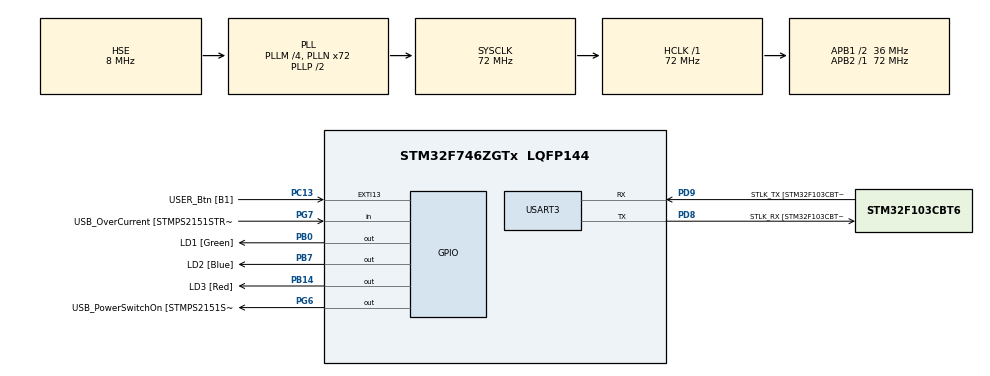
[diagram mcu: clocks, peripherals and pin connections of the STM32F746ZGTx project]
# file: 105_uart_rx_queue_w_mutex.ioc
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FREERTOS.Mutexes01=only_one_at_a_time,Dynamic,NULL
FREERTOS.Queues01=uart3_rx_queue,20,uint8_t,0,Dynamic,NULL,NULL
FREERTOS.Tasks01=defaultTask,-1,128,StartDefaultTask,Default,NULL,Dynamic,NULL,NULL;process_uart3,0,128,task_process_uart3,Default,NULL,Dynamic,NULL,NULL;competing_proce,-3,128,task_competing_process,Default,NULL,Dynamic,NULL,NULL
FREERTOS.configUSE_NEWLIB_REENTRANT=1
Mcu.Family=STM32F7
Mcu.Name=STM32F746ZGTx
Mcu.Package=LQFP144
NVIC.PriorityGroup=NVIC_PRIORITYGROUP_4
NVIC.TIM2_IRQn=true\:0\:0\:false\:false\:true\:false\:false\:true
NVIC.TimeBase=TIM2_IRQn
NVIC.TimeBaseIP=TIM2
NVIC.USART3_IRQn=true\:5\:0\:false\:false\:true\:true\:true\:true
PA1.GPIO_Label=RMII_REF_CLK [LAN8742A-CZ-TR_REFCLK0]
PA1.Signal=ETH_REF_CLK
PA10.GPIO_Label=USB_ID
PA10.Signal=USB_OTG_FS_ID
PA11.GPIO_Label=USB_DM
PA11.Signal=USB_OTG_FS_DM
PA12.GPIO_Label=USB_DP
PA12.Signal=USB_OTG_FS_DP
PA13.GPIO_Label=TMS
PA13.Mode=Serial_Wire
PA13.Signal=SYS_JTMS-SWDIO
PA14.GPIO_Label=TCK
PA14.Mode=Serial_Wire
PA14.Signal=SYS_JTCK-SWCLK
PA2.GPIO_Label=RMII_MDIO [LAN8742A-CZ-TR_MDIO]
PA2.Signal=ETH_MDIO
PA7.GPIO_Label=RMII_CRS_DV [LAN8742A-CZ-TR_CRS_DV]
PA7.Signal=ETH_CRS_DV
PA8.GPIO_Label=USB_SOF [TP1]
PA8.Signal=USB_OTG_FS_SOF
PA9.GPIO_Label=USB_VBUS
PA9.Signal=USB_OTG_FS_VBUS
PB0.GPIO_Label=LD1 [Green]
PB0.Signal=GPIO_Output
PB13.GPIO_Label=RMII_TXD1 [LAN8742A-CZ-TR_TXD1]
PB13.Signal=ETH_TXD1
PB14.GPIO_Label=LD3 [Red]
PB14.Signal=GPIO_Output
PB3.GPIO_Label=SW0
PB3.Signal=SYS_JTDO-SWO
PB7.GPIO_Label=LD2 [Blue]
PB7.Signal=GPIO_Output
PC1.GPIO_Label=RMII_MDC [LAN8742A-CZ-TR_MDC]
PC1.Signal=ETH_MDC
PC13.GPIO_Label=USER_Btn [B1]
PC13.Signal=GPXTI13
PC14/OSC32_IN.Mode=LSE-External-Oscillator
PC14/OSC32_IN.Signal=RCC_OSC32_IN
PC15/OSC32_OUT.Mode=LSE-External-Oscillator
PC15/OSC32_OUT.Signal=RCC_OSC32_OUT
PC4.GPIO_Label=RMII_RXD0 [LAN8742A-CZ-TR_RXD0]
PC4.Signal=ETH_RXD0
PC5.GPIO_Label=RMII_RXD1 [LAN8742A-CZ-TR_RXD1]
PC5.Signal=ETH_RXD1
PD8.GPIO_Label=STLK_RX [STM32F103CBT6_PA3]
PD8.Mode=Asynchronous
PD8.Signal=USART3_TX
PD9.GPIO_Label=STLK_TX [STM32F103CBT6_PA2]
PD9.Mode=Asynchronous
PD9.Signal=USART3_RX
PG11.GPIO_Label=RMII_TX_EN [LAN8742A-CZ-TR_TXEN]
PG11.Signal=ETH_TX_EN
PG13.GPIO_Label=RMII_TXD0 [LAN8742A-CZ-TR_TXD0]
PG13.Signal=ETH_TXD0
PG6.GPIO_Label=USB_PowerSwitchOn [STMPS2151STR_EN]
PG6.Signal=GPIO_Output
PG7.GPIO_Label=USB_OverCurrent [STMPS2151STR_FAULT]
PG7.Signal=GPIO_Input
PH0/OSC_IN.GPIO_Label=MCO [STM32F103CBT6_PA8]
PH0/OSC_IN.Mode=HSE-External-Clock-Source
PH0/OSC_IN.Signal=RCC_OSC_IN
PH1/OSC_OUT.Mode=HSE-External-Clock-Source
PH1/OSC_OUT.Signal=RCC_OSC_OUT
ProjectManager.HeapSize=0x200
ProjectManager.StackSize=0x400
ProjectManager.TargetToolchain=STM32CubeIDE
RCC.48MHZClocksFreq_Value=24000000
RCC.AHBFreq_Value=72000000
RCC.APB1CLKDivider=RCC_HCLK_DIV2
RCC.APB1Freq_Value=36000000
RCC.APB1TimFreq_Value=72000000
RCC.APB2Freq_Value=72000000
RCC.APB2TimFreq_Value=72000000
RCC.CortexFreq_Value=72000000
RCC.HCLKFreq_Value=72000000
RCC.HSE_VALUE=8000000
RCC.HSI_VALUE=16000000
RCC.PLLM=4
RCC.PLLMUL=RCC_PLL_MUL9
RCC.PLLN=72
RCC.PLLQ=3
RCC.PLLSourceVirtual=RCC_PLLSOURCE_HSE
RCC.PRESCALERUSB=RCC_USBCLKSOURCE_PLL_DIV1_5
RCC.SYSCLKFreq_VALUE=72000000
RCC.SYSCLKSource=RCC_SYSCLKSOURCE_PLLCLK
RCC.SYSCLKSourceVirtual=RCC_SYSCLKSOURCE_PLLCLK
RCC.USBFreq_Value=48000000
RCC.VCOOutputFreq_Value=144000000
USART3.VirtualMode-Asynchronous=VM_ASYNC
VP_FREERTOS_VS_CMSIS_V1.Mode=CMSIS_V1
VP_SYS_VS_tim2.Mode=TIM2
board=NUCLEO-F746ZG

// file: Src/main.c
/* USER CODE BEGIN Header */
/**
  ******************************************************************************
  * @file           : main.c
  * @brief          : Main program body
  ******************************************************************************
  * @attention
  *
  * <h2><center>&copy; Copyright (c) 2020 STMicroelectronics.
  * All rights reserved.</center></h2>
  *
  * This software component is licensed by ST under Ultimate Liberty license
  * SLA0044, the "License"; You may not use this file except in compliance with
  * the License. You may obtain a copy of the License at:
  *                             www.st.com/SLA0044
  *
  ******************************************************************************
  */
/* USER CODE END Header */
#include "main.h"
#include "cmsis_os.h"

/* USER CODE BEGIN Includes */
#include<string.h>
/* USER CODE END Includes */

UART_HandleTypeDef huart3;

osThreadId defaultTaskHandle;
osThreadId process_uart3Handle;
osThreadId competing_proceHandle;
osMessageQId uart3_rx_queueHandle;
osMutexId only_one_at_a_timeHandle;

void SystemClock_Config(void);
static void MX_GPIO_Init(void);
static void MX_USART3_UART_Init(void);
void StartDefaultTask(void const * argument);
void task_process_uart3(void const * argument);
void task_competing_process(void const * argument);

/* USER CODE BEGIN 0 */
BaseType_t getCommand() {

    while( xSemaphoreTake(only_one_at_a_timeHandle, 1000 / portTICK_PERIOD_MS ) != pdTRUE )
        ; // wait up to forever for the mutex access

    char command[20];
    BaseType_t  pos = 0;
    uint8_t buffer;
    do {
        while( xQueueReceive(uart3_rx_queueHandle, &buffer, 1000 / portTICK_PERIOD_MS ) != pdTRUE )
            ; // wait up to forever to receive a character
        if ( buffer!='\r'&& buffer!='\n' ) {
          command[pos] = buffer;
          pos++;
        }
    } while( pos<19 && buffer!='\r' && buffer!='\n');
    command[pos]='\0';

    xSemaphoreGive(only_one_at_a_timeHandle);

    BaseType_t result = -1;
    if ( strcmp(command, "off")==0 )
        result = 0;
    else if ( strcmp(command, "on")==0 )
        result = 1;
    return(result);
}
/* USER CODE END 0 */

int main(void)
{

  /* MCU Configuration--------------------------------------------------------*/

  /* Reset of all peripherals, Initializes the Flash interface and the Systick. */
  HAL_Init();

  /* Configure the system clock */
  SystemClock_Config();

  /* Initialize all configured peripherals */
  MX_GPIO_Init();
  MX_USART3_UART_Init();
  /* USER CODE BEGIN 2 */
  __HAL_UART_ENABLE_IT(&huart3, UART_IT_RXNE); //1
  /* USER CODE END 2 */

  /* Create the mutex(es) */
  /* definition and creation of only_one_at_a_time */
  osMutexDef(only_one_at_a_time);
  only_one_at_a_timeHandle = osMutexCreate(osMutex(only_one_at_a_time));

  /* Create the queue(s) */
  /* definition and creation of uart3_rx_queue */
  osMessageQDef(uart3_rx_queue, 20, uint8_t);
  uart3_rx_queueHandle = osMessageCreate(osMessageQ(uart3_rx_queue), NULL);

  /* Create the thread(s) */
  /* definition and creation of defaultTask */
  osThreadDef(defaultTask, StartDefaultTask, osPriorityBelowNormal, 0, 128);
  defaultTaskHandle = osThreadCreate(osThread(defaultTask), NULL);

  /* definition and creation of process_uart3 */
  osThreadDef(process_uart3, task_process_uart3, osPriorityNormal, 0, 128);
  process_uart3Handle = osThreadCreate(osThread(process_uart3), NULL);

  /* definition and creation of competing_proce */
  osThreadDef(competing_proce, task_competing_process, osPriorityIdle, 0, 128);
  competing_proceHandle = osThreadCreate(osThread(competing_proce), NULL);

  /* Start scheduler */
  osKernelStart();

  /* We should never get here as control is now taken by the scheduler */
  /* Infinite loop */
  while (1)
  {

  }
}

void SystemClock_Config(void)
{
  RCC_OscInitTypeDef RCC_OscInitStruct = {0};
  RCC_ClkInitTypeDef RCC_ClkInitStruct = {0};

  /** Configure LSE Drive Capability
  */
  HAL_PWR_EnableBkUpAccess();
  /** Configure the main internal regulator output voltage
  */
  __HAL_RCC_PWR_CLK_ENABLE();
  __HAL_PWR_VOLTAGESCALING_CONFIG(PWR_REGULATOR_VOLTAGE_SCALE3);
  /** Initializes the RCC Oscillators according to the specified parameters
  * in the RCC_OscInitTypeDef structure.
  */
  RCC_OscInitStruct.OscillatorType = RCC_OSCILLATORTYPE_HSE;
  RCC_OscInitStruct.HSEState = RCC_HSE_BYPASS;
  RCC_OscInitStruct.PLL.PLLState = RCC_PLL_ON;
  RCC_OscInitStruct.PLL.PLLSource = RCC_PLLSOURCE_HSE;
  RCC_OscInitStruct.PLL.PLLM = 4;
  RCC_OscInitStruct.PLL.PLLN = 72;
  RCC_OscInitStruct.PLL.PLLP = RCC_PLLP_DIV2;
  RCC_OscInitStruct.PLL.PLLQ = 3;
  if (HAL_RCC_OscConfig(&RCC_OscInitStruct) != HAL_OK)
  {
    Error_Handler();
  }
  /** Initializes the CPU, AHB and APB buses clocks
  */
  RCC_ClkInitStruct.ClockType = RCC_CLOCKTYPE_HCLK|RCC_CLOCKTYPE_SYSCLK
                              |RCC_CLOCKTYPE_PCLK1|RCC_CLOCKTYPE_PCLK2;
  RCC_ClkInitStruct.SYSCLKSource = RCC_SYSCLKSOURCE_PLLCLK;
  RCC_ClkInitStruct.AHBCLKDivider = RCC_SYSCLK_DIV1;
  RCC_ClkInitStruct.APB1CLKDivider = RCC_HCLK_DIV2;
  RCC_ClkInitStruct.APB2CLKDivider = RCC_HCLK_DIV1;

  if (HAL_RCC_ClockConfig(&RCC_ClkInitStruct, FLASH_LATENCY_2) != HAL_OK)
  {
    Error_Handler();
  }
}

static void MX_USART3_UART_Init(void)
{

  huart3.Instance = USART3;
  huart3.Init.BaudRate = 115200;
  huart3.Init.WordLength = UART_WORDLENGTH_8B;
  huart3.Init.StopBits = UART_STOPBITS_1;
  huart3.Init.Parity = UART_PARITY_NONE;
  huart3.Init.Mode = UART_MODE_TX_RX;
  huart3.Init.HwFlowCtl = UART_HWCONTROL_NONE;
  huart3.Init.OverSampling = UART_OVERSAMPLING_16;
  huart3.Init.OneBitSampling = UART_ONE_BIT_SAMPLE_DISABLE;
  huart3.AdvancedInit.AdvFeatureInit = UART_ADVFEATURE_NO_INIT;
  if (HAL_UART_Init(&huart3) != HAL_OK)
  {
    Error_Handler();
  }

}

static void MX_GPIO_Init(void)
{
  GPIO_InitTypeDef GPIO_InitStruct = {0};

  /* GPIO Ports Clock Enable */
  __HAL_RCC_GPIOC_CLK_ENABLE();
  __HAL_RCC_GPIOH_CLK_ENABLE();
  __HAL_RCC_GPIOA_CLK_ENABLE();
  __HAL_RCC_GPIOB_CLK_ENABLE();
  __HAL_RCC_GPIOD_CLK_ENABLE();
  __HAL_RCC_GPIOG_CLK_ENABLE();

  /*Configure GPIO pin Output Level */
  HAL_GPIO_WritePin(GPIOB, LD1_Pin|LD3_Pin|LD2_Pin, GPIO_PIN_RESET);

  /*Configure GPIO pin Output Level */
  HAL_GPIO_WritePin(USB_PowerSwitchOn_GPIO_Port, USB_PowerSwitchOn_Pin, GPIO_PIN_RESET);

  /*Configure GPIO pin : USER_Btn_Pin */
  GPIO_InitStruct.Pin = USER_Btn_Pin;
  GPIO_InitStruct.Mode = GPIO_MODE_IT_RISING;
  GPIO_InitStruct.Pull = GPIO_NOPULL;
  HAL_GPIO_Init(USER_Btn_GPIO_Port, &GPIO_InitStruct);

  /*Configure GPIO pins : RMII_MDC_Pin RMII_RXD0_Pin RMII_RXD1_Pin */
  GPIO_InitStruct.Pin = RMII_MDC_Pin|RMII_RXD0_Pin|RMII_RXD1_Pin;
  GPIO_InitStruct.Mode = GPIO_MODE_AF_PP;
  GPIO_InitStruct.Pull = GPIO_NOPULL;
  GPIO_InitStruct.Speed = GPIO_SPEED_FREQ_VERY_HIGH;
  GPIO_InitStruct.Alternate = GPIO_AF11_ETH;
  HAL_GPIO_Init(GPIOC, &GPIO_InitStruct);

  /*Configure GPIO pins : RMII_REF_CLK_Pin RMII_MDIO_Pin RMII_CRS_DV_Pin */
  GPIO_InitStruct.Pin = RMII_REF_CLK_Pin|RMII_MDIO_Pin|RMII_CRS_DV_Pin;
  GPIO_InitStruct.Mode = GPIO_MODE_AF_PP;
  GPIO_InitStruct.Pull = GPIO_NOPULL;
  GPIO_InitStruct.Speed = GPIO_SPEED_FREQ_VERY_HIGH;
  GPIO_InitStruct.Alternate = GPIO_AF11_ETH;
  HAL_GPIO_Init(GPIOA, &GPIO_InitStruct);

  /*Configure GPIO pins : LD1_Pin LD3_Pin LD2_Pin */
  GPIO_InitStruct.Pin = LD1_Pin|LD3_Pin|LD2_Pin;
  GPIO_InitStruct.Mode = GPIO_MODE_OUTPUT_PP;
  GPIO_InitStruct.Pull = GPIO_NOPULL;
  GPIO_InitStruct.Speed = GPIO_SPEED_FREQ_LOW;
  HAL_GPIO_Init(GPIOB, &GPIO_InitStruct);

  /*Configure GPIO pin : RMII_TXD1_Pin */
  GPIO_InitStruct.Pin = RMII_TXD1_Pin;
  GPIO_InitStruct.Mode = GPIO_MODE_AF_PP;
  GPIO_InitStruct.Pull = GPIO_NOPULL;
  GPIO_InitStruct.Speed = GPIO_SPEED_FREQ_VERY_HIGH;
  GPIO_InitStruct.Alternate = GPIO_AF11_ETH;
  HAL_GPIO_Init(RMII_TXD1_GPIO_Port, &GPIO_InitStruct);

  /*Configure GPIO pin : USB_PowerSwitchOn_Pin */
  GPIO_InitStruct.Pin = USB_PowerSwitchOn_Pin;
  GPIO_InitStruct.Mode = GPIO_MODE_OUTPUT_PP;
  GPIO_InitStruct.Pull = GPIO_NOPULL;
  GPIO_InitStruct.Speed = GPIO_SPEED_FREQ_LOW;
  HAL_GPIO_Init(USB_PowerSwitchOn_GPIO_Port, &GPIO_InitStruct);

  /*Configure GPIO pin : USB_OverCurrent_Pin */
  GPIO_InitStruct.Pin = USB_OverCurrent_Pin;
  GPIO_InitStruct.Mode = GPIO_MODE_INPUT;
  GPIO_InitStruct.Pull = GPIO_NOPULL;
  HAL_GPIO_Init(USB_OverCurrent_GPIO_Port, &GPIO_InitStruct);

  /*Configure GPIO pins : USB_SOF_Pin USB_ID_Pin USB_DM_Pin USB_DP_Pin */
  GPIO_InitStruct.Pin = USB_SOF_Pin|USB_ID_Pin|USB_DM_Pin|USB_DP_Pin;
  GPIO_InitStruct.Mode = GPIO_MODE_AF_PP;
  GPIO_InitStruct.Pull = GPIO_NOPULL;
  GPIO_InitStruct.Speed = GPIO_SPEED_FREQ_VERY_HIGH;
  GPIO_InitStruct.Alternate = GPIO_AF10_OTG_FS;
  HAL_GPIO_Init(GPIOA, &GPIO_InitStruct);

  /*Configure GPIO pin : USB_VBUS_Pin */
  GPIO_InitStruct.Pin = USB_VBUS_Pin;
  GPIO_InitStruct.Mode = GPIO_MODE_INPUT;
  GPIO_InitStruct.Pull = GPIO_NOPULL;
  HAL_GPIO_Init(USB_VBUS_GPIO_Port, &GPIO_InitStruct);

  /*Configure GPIO pins : RMII_TX_EN_Pin RMII_TXD0_Pin */
  GPIO_InitStruct.Pin = RMII_TX_EN_Pin|RMII_TXD0_Pin;
  GPIO_InitStruct.Mode = GPIO_MODE_AF_PP;
  GPIO_InitStruct.Pull = GPIO_NOPULL;
  GPIO_InitStruct.Speed = GPIO_SPEED_FREQ_VERY_HIGH;
  GPIO_InitStruct.Alternate = GPIO_AF11_ETH;
  HAL_GPIO_Init(GPIOG, &GPIO_InitStruct);

}

/* USER CODE BEGIN 4 */
//1

/* USER CODE END 4 */

void StartDefaultTask(void const * argument)
{
  /* USER CODE BEGIN 5 */
      /* Infinite loop */
      for(;;)
      {
        // Keep alive indicator
        HAL_GPIO_TogglePin(GPIOB, GPIO_PIN_7);
        osDelay(500); // or use vTaskDelay( 500 / portTICK_PERIOD_MS );
      }
  /* USER CODE END 5 */
}

void task_process_uart3(void const * argument)
{
  /* USER CODE BEGIN task_process_uart3 */
  /* Infinite loop */
  for(;;)
  {
      BaseType_t command = getCommand();
    if ( command==0 ) {
      HAL_GPIO_WritePin(GPIOB, GPIO_PIN_0, GPIO_PIN_RESET);
    } else if ( command==1 ) {
      HAL_GPIO_WritePin(GPIOB, GPIO_PIN_0, GPIO_PIN_SET);
    } else{
    // nothing - unrecognized command
    }
  }
  /* USER CODE END task_process_uart3 */
}

void task_competing_process(void const * argument)
{
  /* USER CODE BEGIN task_competing_process */
  /* Infinite loop */
  for(;;)
  {
      BaseType_t command = getCommand();
    if ( command==0 ) {
      HAL_GPIO_WritePin(GPIOB, GPIO_PIN_14, GPIO_PIN_RESET);
    } else if ( command==1 ) {
      HAL_GPIO_WritePin(GPIOB, GPIO_PIN_14, GPIO_PIN_SET);
    } else{
    // nothing - unrecognized command
    }
  }
  /* USER CODE END task_competing_process */
}

void HAL_TIM_PeriodElapsedCallback(TIM_HandleTypeDef *htim)
{
  if (htim->Instance == TIM2) {
    HAL_IncTick();
  }
}

void Error_Handler(void)
{
}

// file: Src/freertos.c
/* USER CODE BEGIN Header */
/**
  ******************************************************************************
  * File Name          : freertos.c
  * Description        : Code for freertos applications
  ******************************************************************************
  * @attention
  *
  * <h2><center>&copy; Copyright (c) 2020 STMicroelectronics.
  * All rights reserved.</center></h2>
  *
  * This software component is licensed by ST under Ultimate Liberty license
  * SLA0044, the "License"; You may not use this file except in compliance with
  * the License. You may obtain a copy of the License at:
  *                             www.st.com/SLA0044
  *
  ******************************************************************************
  */
/* USER CODE END Header */

#include "FreeRTOS.h"
#include "task.h"
#include "main.h"

/* GetIdleTaskMemory prototype (linked to static allocation support) */
void vApplicationGetIdleTaskMemory( StaticTask_t **ppxIdleTaskTCBBuffer, StackType_t **ppxIdleTaskStackBuffer, uint32_t *pulIdleTaskStackSize );

/* USER CODE BEGIN GET_IDLE_TASK_MEMORY */
static StaticTask_t xIdleTaskTCBBuffer;
static StackType_t xIdleStack[configMINIMAL_STACK_SIZE];

void vApplicationGetIdleTaskMemory( StaticTask_t **ppxIdleTaskTCBBuffer, StackType_t **ppxIdleTaskStackBuffer, uint32_t *pulIdleTaskStackSize )
{
  *ppxIdleTaskTCBBuffer = &xIdleTaskTCBBuffer;
  *ppxIdleTaskStackBuffer = &xIdleStack[0];
  *pulIdleTaskStackSize = configMINIMAL_STACK_SIZE;
  /* place for user code */
}
/* USER CODE END GET_IDLE_TASK_MEMORY */
